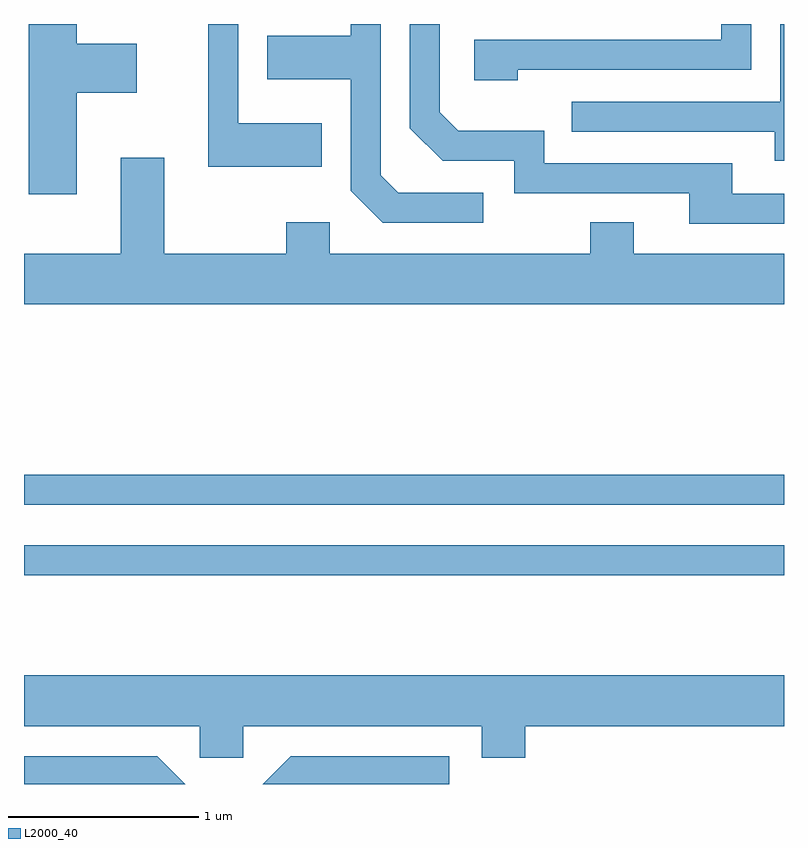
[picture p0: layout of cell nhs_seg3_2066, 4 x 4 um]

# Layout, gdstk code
import gdstk
lib = gdstk.Library(unit=1e-6, precision=1e-09)
def R(c, l, rs):  # rectangles x0, y0, x1, y1
    for r in rs: c.add(gdstk.rectangle(r[:2], r[2:], *l))
def P(c, l, *ps):  # polygons
    for p in ps: c.add(gdstk.Polygon(p, *l))
L2000_40 = (2000, 40)

nhs_seg3_2066 = lib.new_cell('nhs_seg3_2066')
R(nhs_seg3_2066, L2000_40, [(245.611,1168.991,249.611,1169.149), (245.611,1169.361,249.611,1169.519)])
P(nhs_seg3_2066, L2000_40, [(247.179,1171.369),(246.739,1171.369),(246.739,1171.892),(246.581,1171.892),(246.581,1171.141),(247.179,1171.141)],
  [(249.611,1170.999),(249.339,1170.999),(249.339,1171.159),(248.349,1171.159),(248.349,1171.329),(247.897,1171.329),(247.799,1171.427),(247.799,1171.892),(247.641,1171.892),(247.641,1171.344),(247.814,1171.171),(248.191,1171.171),(248.191,1171.001),(249.111,1171.001),(249.111,1170.841),(249.611,1170.841)],
  [(248.209,1171.651),(249.439,1171.651),(249.439,1171.892),(249.281,1171.892),(249.281,1171.809),(247.981,1171.809),(247.981,1171.596),(248.209,1171.596)],
  [(245.889,1171.531),(246.204,1171.531),(246.204,1171.789),(245.889,1171.789),(245.889,1171.892),(245.636,1171.892),(245.636,1170.996),(245.889,1170.996)],
  [(249.611,1171.892),(249.591,1171.892),(249.591,1171.484),(248.493,1171.484),(248.493,1171.326),(249.561,1171.326),(249.561,1171.171),(249.611,1171.171)],
  [(248.028,1171.004),(247.582,1171.004),(247.489,1171.097),(247.489,1171.892),(247.331,1171.892),(247.331,1171.829),(246.891,1171.829),(246.891,1171.601),(247.331,1171.601),(247.331,1171.014),(247.499,1170.846),(248.028,1170.846)],
  [(249.611,1170.684),(248.819,1170.684),(248.819,1170.849),(248.591,1170.849),(248.591,1170.684),(247.219,1170.684),(247.219,1170.849),(246.991,1170.849),(246.991,1170.684),(246.349,1170.684),(246.349,1171.189),(246.121,1171.189),(246.121,1170.684),(245.611,1170.684),(245.611,1170.416),(249.611,1170.416)],
  [(246.764,1168.196),(248.021,1168.196),(248.021,1168.031),(248.249,1168.031),(248.249,1168.196),(249.611,1168.196),(249.611,1168.464),(245.611,1168.464),(245.611,1168.196),(246.536,1168.196),(246.536,1168.031),(246.764,1168.031)],
  [(247.849,1168.039),(247.014,1168.039),(246.867,1167.892),(247.849,1167.892)],
  [(246.312,1168.039),(245.611,1168.039),(245.611,1167.892),(246.459,1167.892)])

lib.write_gds('nhs_seg3_2066.gds')
